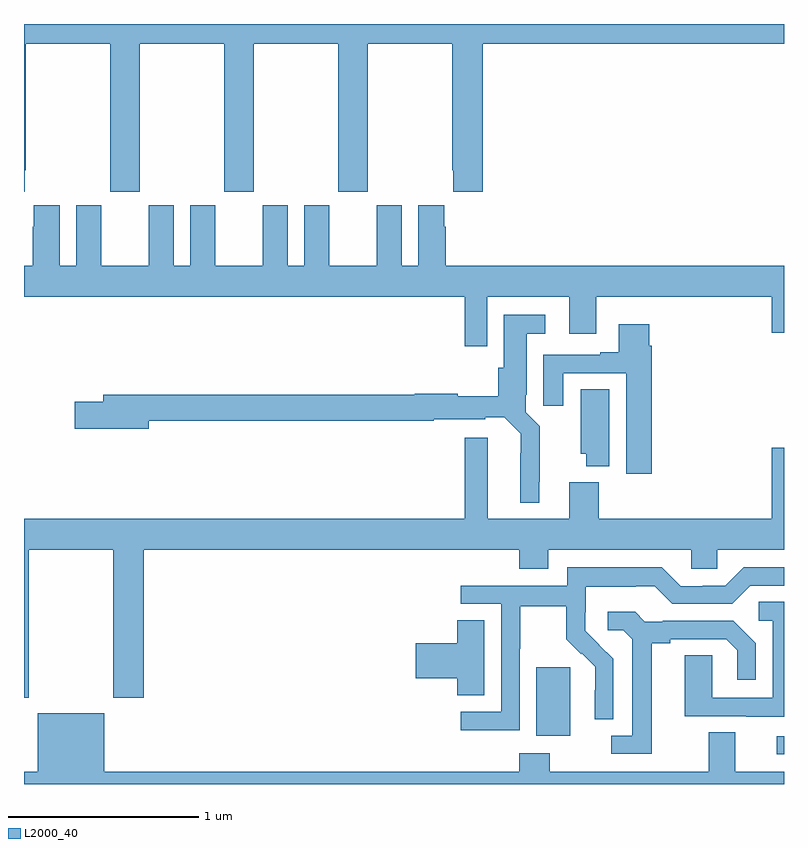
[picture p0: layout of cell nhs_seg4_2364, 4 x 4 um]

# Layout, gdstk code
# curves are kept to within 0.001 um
import gdstk
lib = gdstk.Library(unit=1e-6, precision=1e-09)
def R(c, l, rs):  # rectangles x0, y0, x1, y1
    for r in rs: c.add(gdstk.rectangle(r[:2], r[2:], *l))
def P(c, l, *ps):  # polygons
    for p in ps: c.add(gdstk.Polygon(p, *l))
L2000_40 = (2000, 40)

nhs_seg4_2364 = lib.new_cell('nhs_seg4_2364')
R(nhs_seg4_2364, L2000_40, [(236.961,817.056,237,817.152), (235.697,817.154,235.876,817.515)])
P(nhs_seg4_2364, L2000_40, [(233.005,820.129),(233.01,820.129),(233.01,820.796),(233.455,820.796),(233.455,820.017),(233.61,820.017),(233.61,820.796),(234.055,820.796),(234.055,820.017),(234.21,820.017),(234.21,820.796),(234.655,820.796),(234.655,820.017),(234.81,820.017),(234.81,820.796),(235.255,820.796),(235.255,820.129),(235.259,820.129),(235.259,820.017),(235.415,820.017),(235.415,820.796),(237,820.796),(237,820.9),(233,820.9),(233,820.017),(233.005,820.017)],
  [(235.437,819.464),(235.871,819.464),(235.871,819.27),(236.011,819.27),(236.011,819.464),(236.936,819.464),(236.936,819.276),(237,819.276),(237,819.628),(235.22,819.628),(235.22,819.833),(235.213,819.833),(235.213,819.946),(235.076,819.946),(235.076,819.628),(234.988,819.628),(234.988,819.946),(234.857,819.946),(234.857,819.628),(234.607,819.628),(234.607,819.946),(234.476,819.946),(234.476,819.628),(234.388,819.628),(234.388,819.946),(234.257,819.946),(234.257,819.628),(234.007,819.628),(234.007,819.946),(233.876,819.946),(233.876,819.628),(233.788,819.628),(233.788,819.946),(233.657,819.946),(233.657,819.628),(233.407,819.628),(233.407,819.946),(233.276,819.946),(233.276,819.628),(233.188,819.628),(233.188,819.946),(233.051,819.946),(233.051,819.833),(233.045,819.833),(233.045,819.628),(233,819.628),(233,819.464),(235.321,819.464),(235.321,819.204),(235.437,819.204)],
  [(235.711,818.491),(235.715,818.491),(235.715,818.782),(235.641,818.856),(235.641,818.95),(235.645,818.95),(235.645,819.269),(235.744,819.269),(235.744,819.37),(235.526,819.37),(235.526,819.09),(235.496,819.09),(235.496,818.941),(235.284,818.941),(235.284,818.954),(235.056,818.954),(235.056,818.948),(233.417,818.948),(233.417,818.912),(233.268,818.912),(233.268,818.77),(233.656,818.77),(233.656,818.812),(235.156,818.812),(235.156,818.819),(235.428,818.819),(235.428,818.831),(235.527,818.831),(235.614,818.744),(235.613,818.381),(235.711,818.381)],
  [(236.303,819.206),(236.29,819.206),(236.29,819.319),(236.129,819.319),(236.129,819.172),(236.033,819.172),(236.033,819.159),(235.733,819.159),(235.733,818.892),(235.837,818.892),(235.837,819.063),(236.171,819.063),(236.171,818.532),(236.303,818.532)],
  [(236.08,818.978),(235.931,818.978),(235.931,818.637),(235.958,818.637),(235.958,818.573),(236.08,818.573)],
  [(233.025,818.132),(233.47,818.132),(233.47,817.353),(233.63,817.353),(233.63,818.132),(235.607,818.132),(235.607,818.033),(235.759,818.033),(235.759,818.132),(236.511,818.132),(236.511,818.034),(236.649,818.034),(236.649,818.132),(237,818.132),(237,818.671),(236.936,818.671),(236.936,818.296),(236.024,818.296),(236.024,818.488),(235.871,818.488),(235.871,818.296),(235.441,818.296),(235.441,818.722),(235.319,818.722),(235.319,818.296),(233,818.296),(233,817.353),(233.025,817.353)],
  [(235.608,817.612),(235.611,817.612),(235.611,817.836),(235.855,817.836),(235.855,817.661),(235.932,817.584),(235.935,817.587),(236.006,817.517),(236.006,817.394),(236.004,817.394),(236.004,817.24),(236.1,817.24),(236.1,817.558),(235.954,817.706),(235.954,817.803),(235.956,817.803),(235.956,817.937),(236.219,817.937),(236.219,817.941),(236.319,817.941),(236.412,817.848),(236.727,817.848),(236.823,817.944),(237,817.944),(237,818.04),(236.787,818.04),(236.691,817.944),(236.573,817.944),(236.573,817.941),(236.457,817.941),(236.357,818.041),(235.86,818.041),(235.86,817.944),(235.299,817.944),(235.299,817.848),(235.512,817.848),(235.512,817.281),(235.299,817.281),(235.299,817.183),(235.608,817.183)],
  [(237,817.859),(236.868,817.859),(236.868,817.758),(236.94,817.758),(236.94,817.353),(236.622,817.353),(236.622,817.577),(236.477,817.577),(236.477,817.257),(236.801,817.257),(236.801,817.253),(237,817.253)],
  [(236.305,817.64),(236.401,817.64),(236.401,817.662),(236.696,817.662),(236.753,817.605),(236.753,817.449),(236.85,817.449),(236.85,817.642),(236.734,817.758),(236.362,817.758),(236.362,817.755),(236.268,817.755),(236.216,817.807),(236.073,817.807),(236.073,817.71),(236.154,817.71),(236.201,817.663),(236.201,817.155),(236.091,817.155),(236.091,817.059),(236.305,817.059)],
  [(235.423,817.763),(235.28,817.763),(235.28,817.64),(235.062,817.64),(235.062,817.457),(235.28,817.457),(235.28,817.366),(235.423,817.366)],
  [(237,816.964),(236.743,816.964),(236.743,817.172),(236.603,817.172),(236.603,816.964),(235.767,816.964),(235.767,817.063),(235.607,817.063),(235.607,816.964),(233.422,816.964),(233.422,817.273),(233.072,817.273),(233.072,816.964),(233,816.964),(233,816.9),(237,816.9)])

lib.write_gds('nhs_seg4_2364.gds')
